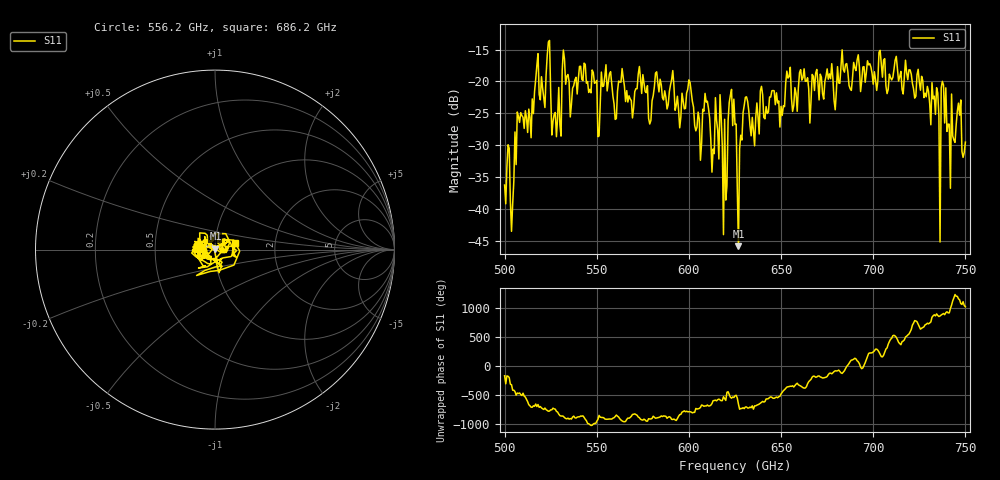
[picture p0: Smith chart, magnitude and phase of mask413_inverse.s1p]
!Created with skrf (http://scikit-rf.org).
# GHz S MA R 50.0
!freq magS11 angS11
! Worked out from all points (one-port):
!   401 points, 500 GHz to 750 GHz, reference 50 ohm
!   lowest |S11| = -45.8 dB at 626.9 GHz (marker M1), VSWR 1.01, Z = 50.2 + j0.454 ohm
!   |S11| at or under -10 dB: start of sweep to end of sweep
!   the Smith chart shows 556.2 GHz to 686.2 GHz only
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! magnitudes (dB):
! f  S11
! 500 GHz  -36.2
! 504.4 GHz  -39.2
! 508.1 GHz  -26.4
! 513.1 GHz  -24.3
! 517.5 GHz  -17.5
! 523.8 GHz  -13.8
! 526.9 GHz  -25.2
! 531.2 GHz  -18.2
! 562.5 GHz  -20.1
! 593.8 GHz  -22.3
! 610 GHz  -23.1
! 612.5 GHz  -34.2
! 616.2 GHz  -32.2
! 619.4 GHz  -25.9
! 622.5 GHz  -22.2
! 625 GHz  -26.8
! 626.9 GHz  -45.8
! 630.6 GHz  -22.5
! 634.4 GHz  -25.6
! 656.2 GHz  -24.7
! 687.5 GHz  -21.2
! 718.8 GHz  -19.7
! 733.8 GHz  -25.2
! 735 GHz  -21.8
! 738.1 GHz  -20.6
! 743.1 GHz  -28.6
! 746.2 GHz  -23.4
! 750 GHz  -29.5
